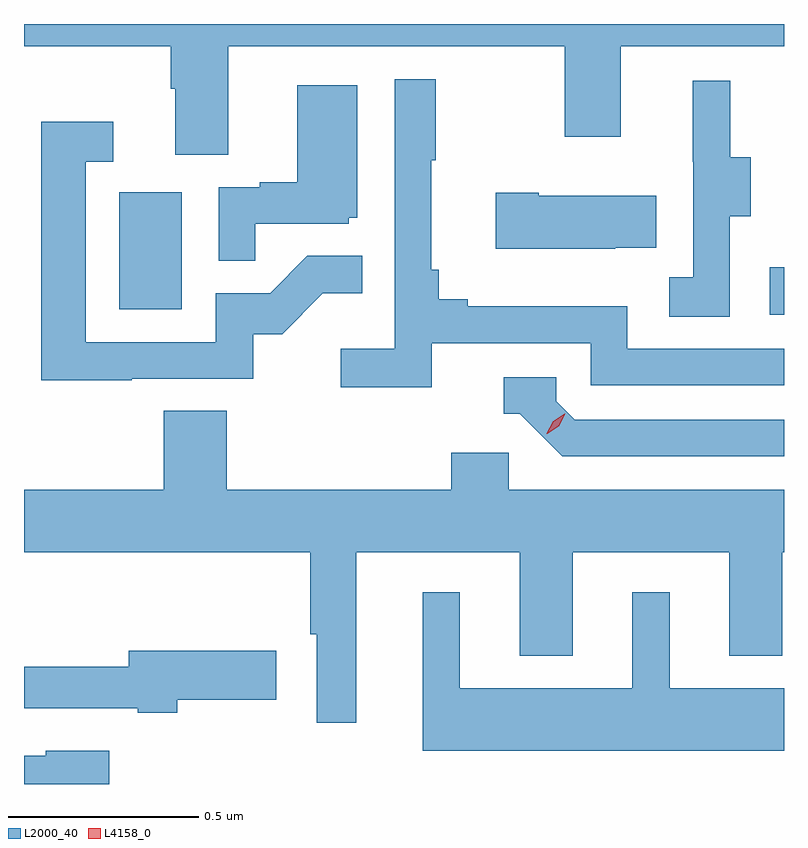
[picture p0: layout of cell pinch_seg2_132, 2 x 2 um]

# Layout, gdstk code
import gdstk
lib = gdstk.Library(unit=1e-6, precision=1e-09)
def R(c, l, rs):  # rectangles x0, y0, x1, y1
    for r in rs: c.add(gdstk.rectangle(r[:2], r[2:], *l))
def P(c, l, *ps):  # polygons
    for p in ps: c.add(gdstk.Polygon(p, *l))
L2000_40 = (2000, 40)
L4158_0 = (4158, 0)

pinch_seg2_132 = lib.new_cell('pinch_seg2_132')
R(pinch_seg2_132, L2000_40, [(1069.461,626.949,1069.499,627.074), (1067.75,626.964,1067.914,627.271)])
P(pinch_seg2_132, L2000_40, [(1068.037,627.656),(1068.922,627.656),(1068.922,627.417),(1069.069,627.417),(1069.069,627.656),(1069.499,627.656),(1069.499,627.714),(1067.499,627.714),(1067.499,627.656),(1067.885,627.656),(1067.885,627.544),(1067.897,627.544),(1067.897,627.37),(1068.037,627.37)],
  [(1068.572,626.874),(1068.99,626.874),(1068.99,626.763),(1069.499,626.763),(1069.499,626.859),(1069.086,626.859),(1069.086,626.971),(1068.667,626.971),(1068.667,626.99),(1068.59,626.99),(1068.59,627.067),(1068.571,627.067),(1068.571,627.355),(1068.583,627.355),(1068.583,627.568),(1068.474,627.568),(1068.474,626.86),(1068.333,626.86),(1068.333,626.758),(1068.572,626.758)],
  [(1069.356,627.208),(1069.411,627.208),(1069.411,627.363),(1069.357,627.363),(1069.357,627.565),(1069.259,627.565),(1069.259,627.351),(1069.26,627.351),(1069.26,627.047),(1069.197,627.047),(1069.197,626.944),(1069.356,626.944)],
  [(1068.107,627.189),(1068.354,627.189),(1068.354,627.204),(1068.376,627.204),(1068.376,627.553),(1068.218,627.553),(1068.218,627.298),(1068.119,627.298),(1068.119,627.285),(1068.012,627.285),(1068.012,627.091),(1068.107,627.091)],
  [(1067.783,626.781),(1068.102,626.781),(1068.102,626.898),(1068.178,626.898),(1068.285,627.005),(1068.389,627.005),(1068.389,627.104),(1068.245,627.104),(1068.147,627.006),(1068.003,627.006),(1068.003,626.877),(1067.661,626.877),(1067.661,627.351),(1067.734,627.351),(1067.734,627.457),(1067.545,627.457),(1067.545,626.776),(1067.783,626.776)],
  [(1069.055,627.125),(1069.163,627.125),(1069.163,627.262),(1068.853,627.262),(1068.853,627.27),(1068.741,627.27),(1068.741,627.122),(1069.055,627.122)],
  [(1069.499,626.673),(1068.948,626.673),(1068.9,626.721),(1068.9,626.784),(1068.761,626.784),(1068.761,626.688),(1068.804,626.688),(1068.915,626.577),(1069.499,626.577)],
  [(1068.032,626.696),(1067.867,626.696),(1067.867,626.488),(1067.499,626.488),(1067.499,626.324),(1068.252,626.324),(1068.252,626.108),(1068.269,626.108),(1068.269,625.875),(1068.373,625.875),(1068.373,626.324),(1068.803,626.324),(1068.803,626.051),(1068.943,626.051),(1068.943,626.324),(1069.355,626.324),(1069.355,626.051),(1069.495,626.051),(1069.495,626.324),(1069.499,626.324),(1069.499,626.488),(1068.774,626.488),(1068.774,626.586),(1068.623,626.586),(1068.623,626.488),(1068.032,626.488)],
  [(1069.499,625.966),(1069.198,625.966),(1069.198,626.218),(1069.1,626.218),(1069.1,625.966),(1068.646,625.966),(1068.646,626.218),(1068.548,626.218),(1068.548,625.802),(1069.499,625.802)],
  [(1067.902,625.936),(1068.163,625.936),(1068.163,626.065),(1067.774,626.065),(1067.774,626.023),(1067.499,626.023),(1067.499,625.914),(1067.798,625.914),(1067.798,625.902),(1067.902,625.902)],
  [(1067.723,625.801),(1067.556,625.801),(1067.556,625.789),(1067.499,625.789),(1067.499,625.714),(1067.723,625.714)])
P(pinch_seg2_132, L4158_0, [(1068.875,626.636),(1068.875,626.637),(1068.892,626.669),(1068.922,626.688),(1068.923,626.688),(1068.923,626.688),(1068.906,626.655),(1068.876,626.636)])

lib.write_gds('pinch_seg2_132.gds')
